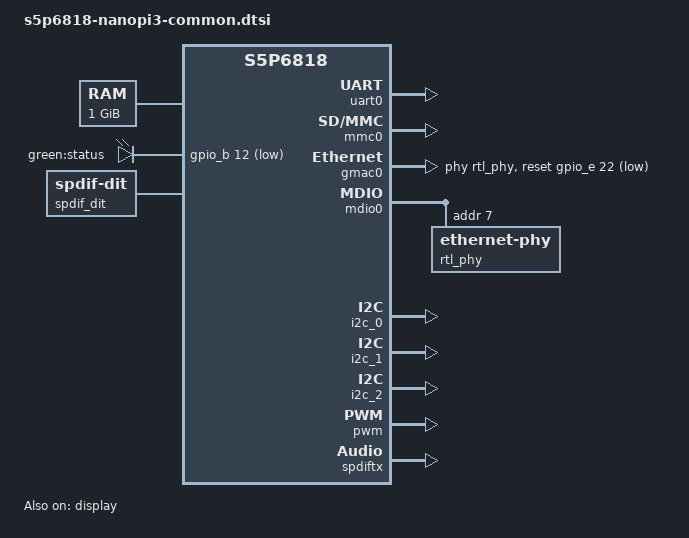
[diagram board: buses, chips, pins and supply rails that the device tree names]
// SPDX-License-Identifier: GPL-2.0
/*
 * Shared board definition for the FriendlyElec octa-core S5P6818 boards
 * (NanoPi M3, NanoPi Fire3, NanoPC-T3 and NanoPC-T3+). It enables only the
 * peripherals every one of them carries: the debug UART, the micro-SD slot,
 * the gigabit PHY, the I2C buses, the PWMs and the green status LED. The
 * board-specific blocks (on-board eMMC, SDIO WiFi, Bluetooth and the ES8316
 * audio codec) stay disabled here and are enabled by the per-board .dts of the
 * board that actually has them. RAM size is written into /memory by u-boot
 * (ft_board_setup), so the value here is only a fallback. See s5p6818.dtsi for
 * the SoC nodes.
 */

#include "s5p6818.dtsi"
#include <dt-bindings/gpio/gpio.h>

/ {
	aliases {
		serial0 = &uart0;
		/*
		 * Pin the mmc host numbering so mmcblkN is stable: without this
		 * the non-removable eMMC races the polled SD for mmcblk0 and
		 * root=/dev/mmcblk0p1 becomes unreliable. SD=0, WiFi(SDIO)=1,
		 * eMMC=2 -> SD is mmcblk0, eMMC is mmcblk2.
		 */
		mmc0 = &mmc0;	/* SD card   (c0062000) */
		mmc1 = &mmc1;	/* SDIO WiFi (c0068000) */
		mmc2 = &mmc2;	/* eMMC      (c0069000) */
	};

	chosen {
		stdout-path = "serial0:115200n8";
	};

	/* Placeholder - the real size (1 GiB on Fire3/M3/T3, 2 GiB on T3+) is
	 * written here by u-boot per board. */
	memory@40000000 {
		device_type = "memory";
		reg = <0x0 0x40000000 0x0 0x40000000>;	/* 1 GiB fallback */
	};

	/* On-board green status LED (active low). Heartbeat by default. */
	leds {
		compatible = "gpio-leds";

		green_led: led-green {
			label = "green:status";
			gpios = <&gpio_b 12 GPIO_ACTIVE_LOW>;
			linux,default-trigger = "heartbeat";
		};
	};
};

&uart0 {
	status = "okay";
};

&mmc0 {		/* micro-SD slot */
	status = "okay";
};

&gmac0 {
	status = "okay";
	phy-handle = <&rtl_phy>;
	/* RTL8211E hardware reset on gpioe-22 (active low). */
	snps,reset-gpio = <&gpio_e 22 GPIO_ACTIVE_LOW>;
	snps,reset-active-low;
	snps,reset-delays-us = <0 10000 30000>;
};

&mdio0 {
	rtl_phy: ethernet-phy@7 {	/* RTL8211E, id 0x001cc915 */
		reg = <7>;
	};
};

&i2c_0 {
	status = "okay";
};

&i2c_1 {
	status = "okay";
};

&i2c_2 {
	status = "okay";
};

&pwm {
	pinctrl-names = "default";
	pinctrl-0 = <&pwm0_pins &pwm1_pins &pwm2_pins &pwm3_pins>;
	status = "okay";
};

/* HDMI is present on all these boards (WIP bring-up). */
&display {
	status = "okay";
};

/* HDMI audio: SoC S/PDIF-TX -> HDMI S/PDIF input -> monitor. */
&spdiftx {
	status = "okay";
};

/ {
	spdif_dit: spdif-dit {
		compatible = "linux,spdif-dit";
		#sound-dai-cells = <0>;
	};

	sound_hdmi: sound-hdmi {
		compatible = "simple-audio-card";
		simple-audio-card,name = "S5P6818-HDMI";

		simple-audio-card,cpu {
			sound-dai = <&spdiftx>;
		};

		simple-audio-card,codec {
			sound-dai = <&spdif_dit>;
		};
	};
};
